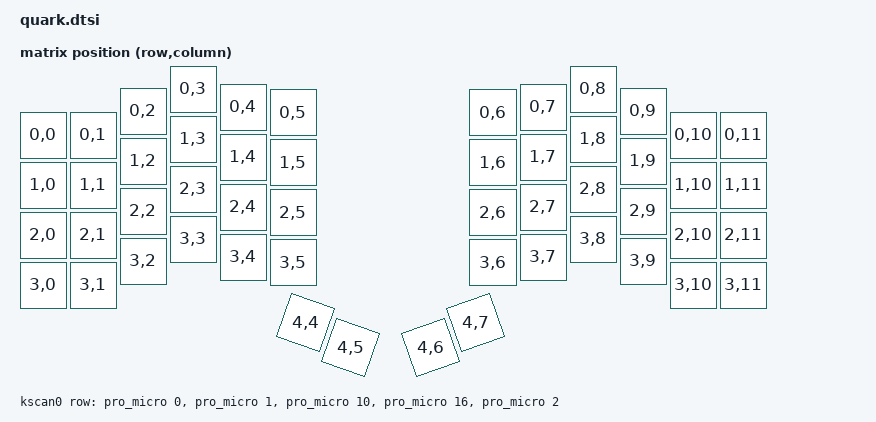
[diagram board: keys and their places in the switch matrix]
// In boards/shields/quark/quark.dtsi

#include <physical_layouts.dtsi>
#include <dt-bindings/zmk/matrix_transform.h>

/ {
    kscan0: kscan0 {
        compatible = "zmk,kscan-gpio-matrix";
        diode-direction = "col2row";
        wakeup-source;

        row-gpios
            = <&pro_micro 0 (GPIO_ACTIVE_HIGH | GPIO_PULL_DOWN)> // Row A from the schematic file
            , <&pro_micro 1 (GPIO_ACTIVE_HIGH | GPIO_PULL_DOWN)> // Row B from the schematic file
            , <&pro_micro 10 (GPIO_ACTIVE_HIGH | GPIO_PULL_DOWN)> // Row C from the schematic file
            , <&pro_micro 16 (GPIO_ACTIVE_HIGH | GPIO_PULL_DOWN)> // Row D from the schematic file
            , <&pro_micro 2 (GPIO_ACTIVE_HIGH | GPIO_PULL_DOWN)> // Row E from the schematic file
            ;
    };

    default_transform: keymap_transform_0 {
        compatible = "zmk,matrix-transform";
        columns = <12>;
        rows = <5>;
        map = <
            RC(0,0) RC(0,1) RC(0,2) RC(0,3) RC(0,4) RC(0,5)   RC(0,6) RC(0,7) RC(0,8) RC(0,9) RC(0,10) RC(0,11)
            RC(1,0) RC(1,1) RC(1,2) RC(1,3) RC(1,4) RC(1,5)   RC(1,6) RC(1,7) RC(1,8) RC(1,9) RC(1,10) RC(1,11)
            RC(2,0) RC(2,1) RC(2,2) RC(2,3) RC(2,4) RC(2,5)   RC(2,6) RC(2,7) RC(2,8) RC(2,9) RC(2,10) RC(2,11)
            RC(3,0) RC(3,1) RC(3,2) RC(3,3) RC(3,4) RC(3,5)   RC(3,6) RC(3,7) RC(3,8) RC(3,9) RC(3,10) RC(3,11)
                                            RC(4,4) RC(4,5)   RC(4,6) RC(4,7)
        >;
    };

    quark_physical_layout: quark_physical_layout {
        compatible = "zmk,physical-layout";
        display-name = "Quark";
        kscan = <&kscan0>;
        transform = <&default_transform>;
        keys  //                     w   h    x    y     rot    rx    ry
            = <&key_physical_attrs 100 100    0   92       0     0     0>
            , <&key_physical_attrs 100 100  100   92       0     0     0>
            , <&key_physical_attrs 100 100  200   44       0     0     0>
            , <&key_physical_attrs 100 100  300    0       0     0     0>
            , <&key_physical_attrs 100 100  400   36       0     0     0>
            , <&key_physical_attrs 100 100  500   47       0     0     0>
            , <&key_physical_attrs 100 100  900   47       0     0     0>
            , <&key_physical_attrs 100 100 1000   36       0     0     0>
            , <&key_physical_attrs 100 100 1100    0       0     0     0>
            , <&key_physical_attrs 100 100 1200   44       0     0     0>
            , <&key_physical_attrs 100 100 1300   92       0     0     0>
            , <&key_physical_attrs 100 100 1400   92       0     0     0>
            , <&key_physical_attrs 100 100    0  192       0     0     0>
            , <&key_physical_attrs 100 100  100  192       0     0     0>
            , <&key_physical_attrs 100 100  200  144       0     0     0>
            , <&key_physical_attrs 100 100  300  100       0     0     0>
            , <&key_physical_attrs 100 100  400  136       0     0     0>
            , <&key_physical_attrs 100 100  500  147       0     0     0>
            , <&key_physical_attrs 100 100  900  147       0     0     0>
            , <&key_physical_attrs 100 100 1000  136       0     0     0>
            , <&key_physical_attrs 100 100 1100  100       0     0     0>
            , <&key_physical_attrs 100 100 1200  144       0     0     0>
            , <&key_physical_attrs 100 100 1300  192       0     0     0>
            , <&key_physical_attrs 100 100 1400  192       0     0     0>
            , <&key_physical_attrs 100 100    0  292       0     0     0>
            , <&key_physical_attrs 100 100  100  292       0     0     0>
            , <&key_physical_attrs 100 100  200  244       0     0     0>
            , <&key_physical_attrs 100 100  300  200       0     0     0>
            , <&key_physical_attrs 100 100  400  236       0     0     0>
            , <&key_physical_attrs 100 100  500  247       0     0     0>
            , <&key_physical_attrs 100 100  900  247       0     0     0>
            , <&key_physical_attrs 100 100 1000  236       0     0     0>
            , <&key_physical_attrs 100 100 1100  200       0     0     0>
            , <&key_physical_attrs 100 100 1200  244       0     0     0>
            , <&key_physical_attrs 100 100 1300  292       0     0     0>
            , <&key_physical_attrs 100 100 1400  292       0     0     0>
            , <&key_physical_attrs 100 100    0  392       0     0     0>
            , <&key_physical_attrs 100 100  100  392       0     0     0>
            , <&key_physical_attrs 100 100  200  344       0     0     0>
            , <&key_physical_attrs 100 100  300  300       0     0     0>
            , <&key_physical_attrs 100 100  400  336       0     0     0>
            , <&key_physical_attrs 100 100  500  347       0     0     0>
            , <&key_physical_attrs 100 100  900  347       0     0     0>
            , <&key_physical_attrs 100 100 1000  336       0     0     0>
            , <&key_physical_attrs 100 100 1100  300       0     0     0>
            , <&key_physical_attrs 100 100 1200  344       0     0     0>
            , <&key_physical_attrs 100 100 1300  392       0     0     0>
            , <&key_physical_attrs 100 100 1400  392       0     0     0>
            , <&key_physical_attrs 100 100  525  467    2000   575   517>
            , <&key_physical_attrs 100 100  615  517    2000   665   567>
            , <&key_physical_attrs 100 100  775  517 (-2000)   825   567>
            , <&key_physical_attrs 100 100  865  467 (-2000)   915   517>
            ;
    };

    chosen {
        zmk,kscan = <&kscan0>;
        zmk,physical-layout = <&quark_physical_layout>;
    };
};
